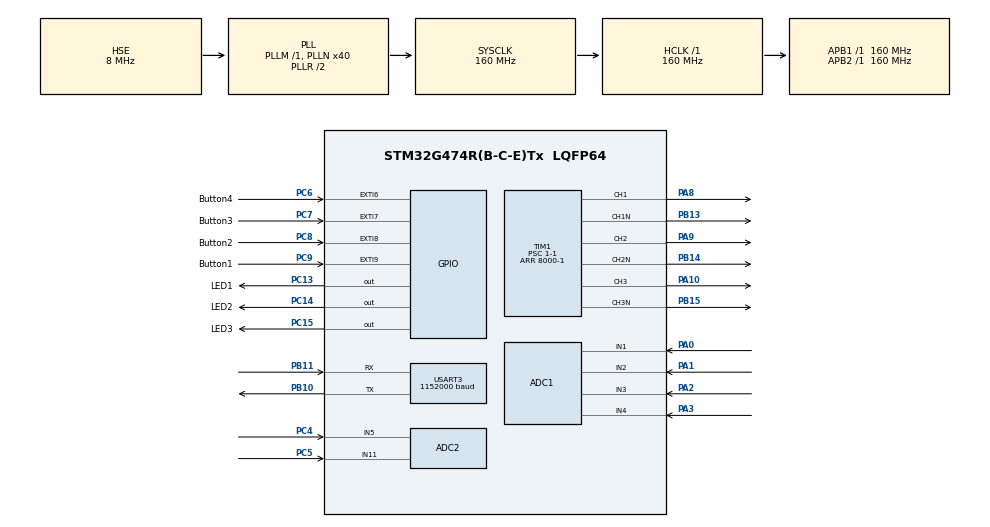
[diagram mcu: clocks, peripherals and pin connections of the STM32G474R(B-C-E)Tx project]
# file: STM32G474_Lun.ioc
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ADC1.Channel-5\#ChannelRegularConversion=ADC_CHANNEL_4
ADC1.EnableInjectedConversion=ENABLE
ADC1.ExternalTrigInjecConv=ADC_EXTERNALTRIGINJEC_T1_CC4
ADC1.InjNumberOfConversion=3
ADC1.InjectedChannel-13\#ChannelInjectedConversion=ADC_CHANNEL_1
ADC1.InjectedChannel-15\#ChannelInjectedConversion=ADC_CHANNEL_2
ADC1.InjectedChannel-16\#ChannelInjectedConversion=ADC_CHANNEL_3
ADC1.InjectedOffsetNumber-13\#ChannelInjectedConversion=ADC_OFFSET_NONE
ADC1.InjectedOffsetNumber-15\#ChannelInjectedConversion=ADC_OFFSET_NONE
ADC1.InjectedOffsetNumber-16\#ChannelInjectedConversion=ADC_OFFSET_NONE
ADC1.InjectedRank-13\#ChannelInjectedConversion=1
ADC1.InjectedRank-15\#ChannelInjectedConversion=2
ADC1.InjectedRank-16\#ChannelInjectedConversion=3
ADC1.InjectedSamplingTime-13\#ChannelInjectedConversion=ADC_SAMPLETIME_2CYCLES_5
ADC1.InjectedSamplingTime-15\#ChannelInjectedConversion=ADC_SAMPLETIME_2CYCLES_5
ADC1.InjectedSamplingTime-16\#ChannelInjectedConversion=ADC_SAMPLETIME_2CYCLES_5
ADC1.NbrOfConversionFlag=1
ADC1.OffsetNumber-5\#ChannelRegularConversion=ADC_OFFSET_NONE
ADC1.Rank-5\#ChannelRegularConversion=1
ADC1.Rank3_Channel=ADC_CHANNEL_3
ADC1.SamplingTime-5\#ChannelRegularConversion=ADC_SAMPLETIME_6CYCLES_5
ADC1.master=1
ADC2.Channel-0\#ChannelRegularConversion=ADC_CHANNEL_5
ADC2.EnableInjectedConversion=ENABLE
ADC2.InjNumberOfConversion=2
ADC2.InjectedChannel-1\#ChannelInjectedConversion=ADC_CHANNEL_5
ADC2.InjectedChannel-2\#ChannelInjectedConversion=ADC_CHANNEL_11
ADC2.InjectedOffsetNumber-1\#ChannelInjectedConversion=ADC_OFFSET_NONE
ADC2.InjectedOffsetNumber-2\#ChannelInjectedConversion=ADC_OFFSET_NONE
ADC2.InjectedRank-1\#ChannelInjectedConversion=1
ADC2.InjectedRank-2\#ChannelInjectedConversion=2
ADC2.InjectedSamplingTime-1\#ChannelInjectedConversion=ADC_SAMPLETIME_2CYCLES_5
ADC2.InjectedSamplingTime-2\#ChannelInjectedConversion=ADC_SAMPLETIME_2CYCLES_5
ADC2.NbrOfConversion=1
ADC2.NbrOfConversionFlag=1
ADC2.OffsetNumber-0\#ChannelRegularConversion=ADC_OFFSET_NONE
ADC2.Rank-0\#ChannelRegularConversion=1
ADC2.Rank1_Channel=ADC_CHANNEL_5
ADC2.Rank2_Channel=ADC_CHANNEL_11
ADC2.SamplingTime-0\#ChannelRegularConversion=ADC_SAMPLETIME_6CYCLES_5
Dma.Request0=USART3_TX
Dma.USART3_TX.0.Direction=DMA_MEMORY_TO_PERIPH
Dma.USART3_TX.0.EventEnable=DISABLE
Dma.USART3_TX.0.Instance=DMA1_Channel1
Dma.USART3_TX.0.MemDataAlignment=DMA_MDATAALIGN_BYTE
Dma.USART3_TX.0.MemInc=DMA_MINC_ENABLE
Dma.USART3_TX.0.Mode=DMA_NORMAL
Dma.USART3_TX.0.PeriphDataAlignment=DMA_PDATAALIGN_BYTE
Dma.USART3_TX.0.PeriphInc=DMA_PINC_DISABLE
Dma.USART3_TX.0.Polarity=HAL_DMAMUX_REQ_GEN_RISING
Dma.USART3_TX.0.Priority=DMA_PRIORITY_LOW
Dma.USART3_TX.0.RequestNumber=1
Dma.USART3_TX.0.SignalID=NONE
Dma.USART3_TX.0.SyncEnable=DISABLE
Dma.USART3_TX.0.SyncPolarity=HAL_DMAMUX_SYNC_NO_EVENT
Dma.USART3_TX.0.SyncRequestNumber=1
Dma.USART3_TX.0.SyncSignalID=NONE
Mcu.Family=STM32G4
Mcu.Name=STM32G474R(B-C-E)Tx
Mcu.Package=LQFP64
NVIC.ADC1_2_IRQn=true\:0\:0\:false\:false\:true\:true\:true
NVIC.DMA1_Channel1_IRQn=true\:0\:0\:false\:false\:true\:false\:true
NVIC.EXTI9_5_IRQn=true\:0\:0\:false\:false\:true\:true\:true
NVIC.PriorityGroup=NVIC_PRIORITYGROUP_4
NVIC.TIM1_BRK_TIM15_IRQn=true\:0\:0\:false\:false\:true\:true\:true
NVIC.TIM1_CC_IRQn=true\:0\:0\:false\:false\:true\:true\:true
NVIC.TIM1_UP_TIM16_IRQn=true\:0\:0\:false\:false\:true\:true\:true
NVIC.USART3_IRQn=true\:0\:0\:false\:false\:true\:true\:true
PA0.Mode=IN1-Single-Ended
PA0.Signal=ADC1_IN1
PA1.Mode=IN2-Single-Ended
PA1.Signal=ADC1_IN2
PA10.Signal=S_TIM1_CH3
PA13.Mode=Serial_Wire
PA13.Signal=SYS_JTMS-SWDIO
PA14.Mode=Serial_Wire
PA14.Signal=SYS_JTCK-SWCLK
PA2.Mode=IN3-Single-Ended
PA2.Signal=ADC1_IN3
PA3.Mode=IN4-Single-Ended
PA3.Signal=ADC1_IN4
PA8.Signal=S_TIM1_CH1
PA9.Signal=S_TIM1_CH2
PB10.Mode=Asynchronous
PB10.Signal=USART3_TX
PB11.Mode=Asynchronous
PB11.Signal=USART3_RX
PB13.Mode=PWM Generation1 CH1 CH1N
PB13.Signal=TIM1_CH1N
PB14.Mode=PWM Generation2 CH2 CH2N
PB14.Signal=TIM1_CH2N
PB15.Mode=PWM Generation3 CH3 CH3N
PB15.Signal=TIM1_CH3N
PC13.GPIO_Label=LED1
PC13.GPIO_PuPd=GPIO_PULLUP
PC13.Signal=GPIO_Output
PC14-OSC32_IN.GPIO_Label=LED2
PC14-OSC32_IN.GPIO_PuPd=GPIO_PULLUP
PC14-OSC32_IN.Signal=GPIO_Output
PC15-OSC32_OUT.GPIO_Label=LED3
PC15-OSC32_OUT.GPIO_PuPd=GPIO_PULLUP
PC15-OSC32_OUT.Signal=GPIO_Output
PC4.Mode=IN5-Single-Ended
PC4.Signal=ADC2_IN5
PC5.Mode=IN11-Single-Ended
PC5.Signal=ADC2_IN11
PC6.GPIO_Label=Button4
PC6.GPIO_PuPd=GPIO_NOPULL
PC6.Signal=GPXTI6
PC7.GPIO_Label=Button3
PC7.GPIO_PuPd=GPIO_NOPULL
PC7.Signal=GPXTI7
PC8.GPIO_Label=Button2
PC8.GPIO_PuPd=GPIO_NOPULL
PC8.Signal=GPXTI8
PC9.GPIO_Label=Button1
PC9.GPIO_PuPd=GPIO_NOPULL
PC9.Signal=GPXTI9
PF0-OSC_IN.Mode=HSE-External-Oscillator
PF0-OSC_IN.Signal=RCC_OSC_IN
PF1-OSC_OUT.Mode=HSE-External-Oscillator
PF1-OSC_OUT.Signal=RCC_OSC_OUT
ProjectManager.HeapSize=0x200
ProjectManager.StackSize=0x400
ProjectManager.TargetToolchain=MDK-ARM V5.32
RCC.ADC12Freq_Value=160000000
RCC.ADC345Freq_Value=160000000
RCC.AHBFreq_Value=160000000
RCC.APB1Freq_Value=160000000
RCC.APB1TimFreq_Value=160000000
RCC.APB2Freq_Value=160000000
RCC.APB2TimFreq_Value=160000000
RCC.CortexFreq_Value=160000000
RCC.EXTERNAL_CLOCK_VALUE=12288000
RCC.HCLKFreq_Value=160000000
RCC.HSE_VALUE=8000000
RCC.HSI48_VALUE=48000000
RCC.HSI_VALUE=16000000
RCC.LSE_VALUE=32768
RCC.PLLN=40
RCC.PLLSourceVirtual=RCC_PLLSOURCE_HSE
RCC.SYSCLKFreq_VALUE=160000000
RCC.SYSCLKSource=RCC_SYSCLKSOURCE_PLLCLK
RCC.USBFreq_Value=160000000
RCC.VCOOutputFreq_Value=320000000
SH.S_TIM1_CH1.0=TIM1_CH1,PWM Generation1 CH1 CH1N
SH.S_TIM1_CH2.0=TIM1_CH2,PWM Generation2 CH2 CH2N
SH.S_TIM1_CH3.0=TIM1_CH3,PWM Generation3 CH3 CH3N
TIM1.Channel-PWM\ Generation1\ CH1\ CH1N=TIM_CHANNEL_1
TIM1.Channel-PWM\ Generation2\ CH2\ CH2N=TIM_CHANNEL_2
TIM1.Channel-PWM\ Generation3\ CH3\ CH3N=TIM_CHANNEL_3
TIM1.Channel-PWM\ Generation4\ No\ Output=TIM_CHANNEL_4
TIM1.ClockDivision=TIM_CLOCKDIVISION_DIV2
TIM1.CounterMode=TIM_COUNTERMODE_CENTERALIGNED1
TIM1.DeadTime=120
TIM1.OCMode_PWM-PWM\ Generation4\ No\ Output=TIM_OCMODE_PWM2
TIM1.PeriodNoDither=8000-1
TIM1.Prescaler=1-1
TIM1.PulseNoDither_4=8000-2
TIM1.RepetitionCounter=1
TIM1.TIM_MasterOutputTrigger=TIM_TRGO_OC4REF
USART3.BaudRate=1152000
USART3.VirtualMode-Asynchronous=VM_ASYNC
VP_SYS_VS_DBSignals.Mode=DisableDeadBatterySignals
VP_TIM1_VS_ClockSourceINT.Mode=Internal
VP_TIM1_VS_no_output4.Mode=PWM Generation4 No Output
board=custom

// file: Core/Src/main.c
/* USER CODE BEGIN Header */
/**
  ******************************************************************************
  * @file           : main.c
  * @brief          : Main program body
  ******************************************************************************
  * @attention
  *
  * <h2><center>&copy; Copyright (c) 2024 STMicroelectronics.
  * All rights reserved.</center></h2>
  *
  * This software component is licensed by ST under BSD 3-Clause license,
  * the "License"; You may not use this file except in compliance with the
  * License. You may obtain a copy of the License at:
  *                        opensource.org/licenses/BSD-3-Clause
  *
  ******************************************************************************
  */
/* USER CODE END Header */
#include "main.h"
#include "adc.h"
#include "dma.h"
#include "tim.h"
#include "usart.h"
#include "gpio.h"

/* USER CODE BEGIN Includes */

#include <stdio.h>
#include <string.h>
#include "FOC_Model.h"
#include "user_uploader.h"
/* USER CODE END Includes */

/* USER CODE BEGIN PV */

#define RXBUFFERSIZE  256
char RxBuffer[RXBUFFERSIZE];
uint8_t aRxBuffer;
uint8_t Uart1_Rx_Cnt = 0;

uint16_t adc1_in1, adc1_in2, adc1_in3, adc1_in4, adc_vbus;
uint16_t IA_Offset,IB_Offset,IC_Offset;
uint8_t ADC_offset = 0;
uint16_t finalspeed = 0;
uint8_t Motor_state = 0;
/* External inputs (root inport signals with default storage) */
extern ExtU rtU;

/* External outputs (root outports fed by signals with default storage) */
extern ExtY rtY;
/* USER CODE END PV */

void SystemClock_Config(void);

int main(void)
{

  /* MCU Configuration--------------------------------------------------------*/

  /* Reset of all peripherals, Initializes the Flash interface and the Systick. */
  HAL_Init();

  /* Configure the system clock */
  SystemClock_Config();

  /* Initialize all configured peripherals */
  MX_GPIO_Init();
  MX_ADC1_Init();
  MX_DMA_Init();
  MX_USART3_UART_Init();
  MX_TIM1_Init();
  MX_ADC2_Init();
  /* USER CODE BEGIN 2 */

	HAL_ADCEx_Calibration_Start( &hadc1, ADC_SINGLE_ENDED);
	__HAL_ADC_CLEAR_FLAG( &hadc1, ADC_FLAG_JEOC);
	__HAL_ADC_CLEAR_FLAG( &hadc1, ADC_FLAG_EOC);
	HAL_ADCEx_InjectedStart_IT(&hadc1);
	HAL_TIM_Base_Start( &htim1);
	HAL_TIM_PWM_Start( &htim1, TIM_CHANNEL_4);
	rtU.Speed_ref = 1200;
	rtU.VDC = 24;
//	motor_svpwm
  /* USER CODE END 2 */

  /* Infinite loop */
  while (1)
  {

    /* USER CODE BEGIN 3 */
// ����ע��ת��
		HAL_ADCEx_InjectedStart(&hadc2);
		adc_vbus = hadc2.Instance->JDR2;
		rtU.VDC=adc_vbus*0.01359f;

		adc1_in4 = hadc2.Instance->JDR1;
		finalspeed = (adc1_in4>>4) * 15;
		if(finalspeed >=0 && finalspeed <400)
		{
			finalspeed = 400;
		}
		if(finalspeed > 1200)
		{
			finalspeed = 1200;
		}
		rtU.Speed_ref = finalspeed;
		HAL_Delay(10);

  }
  /* USER CODE END 3 */
}

void SystemClock_Config(void)
{
  RCC_OscInitTypeDef RCC_OscInitStruct = {0};
  RCC_ClkInitTypeDef RCC_ClkInitStruct = {0};
  RCC_PeriphCLKInitTypeDef PeriphClkInit = {0};

  /** Configure the main internal regulator output voltage
  */
  HAL_PWREx_ControlVoltageScaling(PWR_REGULATOR_VOLTAGE_SCALE1_BOOST);
  /** Initializes the RCC Oscillators according to the specified parameters
  * in the RCC_OscInitTypeDef structure.
  */
  RCC_OscInitStruct.OscillatorType = RCC_OSCILLATORTYPE_HSE;
  RCC_OscInitStruct.HSEState = RCC_HSE_ON;
  RCC_OscInitStruct.PLL.PLLState = RCC_PLL_ON;
  RCC_OscInitStruct.PLL.PLLSource = RCC_PLLSOURCE_HSE;
  RCC_OscInitStruct.PLL.PLLM = RCC_PLLM_DIV1;
  RCC_OscInitStruct.PLL.PLLN = 40;
  RCC_OscInitStruct.PLL.PLLP = RCC_PLLP_DIV2;
  RCC_OscInitStruct.PLL.PLLQ = RCC_PLLQ_DIV2;
  RCC_OscInitStruct.PLL.PLLR = RCC_PLLR_DIV2;
  if (HAL_RCC_OscConfig(&RCC_OscInitStruct) != HAL_OK)
  {
    Error_Handler();
  }
  /** Initializes the CPU, AHB and APB buses clocks
  */
  RCC_ClkInitStruct.ClockType = RCC_CLOCKTYPE_HCLK|RCC_CLOCKTYPE_SYSCLK
                              |RCC_CLOCKTYPE_PCLK1|RCC_CLOCKTYPE_PCLK2;
  RCC_ClkInitStruct.SYSCLKSource = RCC_SYSCLKSOURCE_PLLCLK;
  RCC_ClkInitStruct.AHBCLKDivider = RCC_SYSCLK_DIV1;
  RCC_ClkInitStruct.APB1CLKDivider = RCC_HCLK_DIV1;
  RCC_ClkInitStruct.APB2CLKDivider = RCC_HCLK_DIV1;

  if (HAL_RCC_ClockConfig(&RCC_ClkInitStruct, FLASH_LATENCY_4) != HAL_OK)
  {
    Error_Handler();
  }
  /** Initializes the peripherals clocks
  */
  PeriphClkInit.PeriphClockSelection = RCC_PERIPHCLK_USART3|RCC_PERIPHCLK_ADC12;
  PeriphClkInit.Usart3ClockSelection = RCC_USART3CLKSOURCE_PCLK1;
  PeriphClkInit.Adc12ClockSelection = RCC_ADC12CLKSOURCE_SYSCLK;
  if (HAL_RCCEx_PeriphCLKConfig(&PeriphClkInit) != HAL_OK)
  {
    Error_Handler();
  }
}

/* USER CODE BEGIN 4 */

////void HAL_GPIO_EXTI_Callback(uint16_t GPIO_Pin)
////{
////  /* Prevent unused argument(s) compilation warning */
////  UNUSED(GPIO_Pin);
////	if(Button3_Pin == GPIO_Pin)
////	{
////		printf("78910\r\n");
////	}
////  /* NOTE: This function should not be modified, when the callback is needed,
////           the HAL_GPIO_EXTI_Callback could be implemented in the user file
////   */
////}
void HAL_GPIO_EXTI_Callback(uint16_t GPIO_Pin)
{
  /* Prevent unused argument(s) compilation warning */
  UNUSED(GPIO_Pin);
	unsigned int i=0;
	while(i++<=0x0FFF);
//	HAL_Delay(10);//����
	if(Button1_Pin == GPIO_Pin)
	{
		HAL_GPIO_TogglePin(LED1_GPIO_Port,LED1_Pin);
	}
	if(Button3_Pin == GPIO_Pin)
	{
		Motor_state = ~Motor_state;
		HAL_GPIO_TogglePin(LED2_GPIO_Port,LED2_Pin);
		if(0 == Motor_state)
		{
			rtU.MotorOnOff = 0;
			HAL_TIM_PWM_Stop( &htim1, TIM_CHANNEL_1);
			HAL_TIM_PWM_Stop( &htim1, TIM_CHANNEL_2);
			HAL_TIM_PWM_Stop( &htim1, TIM_CHANNEL_3);
			HAL_TIMEx_PWMN_Stop( &htim1, TIM_CHANNEL_1);
			HAL_TIMEx_PWMN_Stop( &htim1, TIM_CHANNEL_2);
			HAL_TIMEx_PWMN_Stop( &htim1, TIM_CHANNEL_3);
		}
		else
		{
			rtU.MotorOnOff = 1;
			HAL_TIM_PWM_Start( &htim1, TIM_CHANNEL_1);
			HAL_TIM_PWM_Start( &htim1, TIM_CHANNEL_2);
			HAL_TIM_PWM_Start( &htim1, TIM_CHANNEL_3);
			HAL_TIMEx_PWMN_Start( &htim1, TIM_CHANNEL_1);
			HAL_TIMEx_PWMN_Start( &htim1, TIM_CHANNEL_2);
			HAL_TIMEx_PWMN_Start( &htim1, TIM_CHANNEL_3);
		}
	}
  /* NOTE: This function should not be modified, when the callback is needed,
           the HAL_GPIO_EXTI_Callback could be implemented in the user file
   */
}

void HAL_ADCEx_InjectedConvCpltCallback(ADC_HandleTypeDef *hadc)
{
	static uint8_t cnt;
	static uint16_t obsever_cnt;
  /* Prevent unused argument(s) compilation warning */
  UNUSED(hadc);
	if(hadc == &hadc1)
	{
		if(ADC_offset == 0)
		{
			cnt++;
			adc1_in1 = hadc1.Instance->JDR1;
			adc1_in2 = hadc1.Instance->JDR2;
			adc1_in3 = hadc1.Instance->JDR3;

			IA_Offset += adc1_in1;
			IB_Offset += adc1_in2;
			IC_Offset += adc1_in3;
			if(cnt >= 10)
			{
				ADC_offset = 1;
				IA_Offset = IA_Offset/10;
				IB_Offset = IB_Offset/10;
				IC_Offset = IC_Offset/10;
			}
		}
		else
		{
			adc1_in1 = hadc1.Instance->JDR1;
			adc1_in2 = hadc1.Instance->JDR2;
			adc1_in3 = hadc1.Instance->JDR3;
//			rtU.ic = (adc1_in1 - IA_Offset)*0.008f;
			rtU.ib = (adc1_in2 - IB_Offset)*0.008f;
			rtU.ia = (adc1_in3 - IC_Offset)*0.008f;
			rtU.ic = -rtU.ia -rtU.ib;
			FOC_Model_step();
			TIM1->CCR1 = rtY.Tcmp1;
			TIM1->CCR2 = rtY.Tcmp2;
			TIM1->CCR3 = rtY.Tcmp3;
			Frame_Data_type.fdata[0]=rtU.VDC;
			Frame_Data_type.fdata[1]=rtY.LunTheta;
			Frame_Data_type.fdata[2]=rtY.LunWm;
			Frame_Data_type.fdata[3]=rtU.Speed_ref;
			Frame_Data_type.fdata[4]=rtU.ia;
			Frame_Data_type.fdata[5]=rtU.ib;
			Frame_Data_type.fdata[6]=rtU.ic;
			Plot_Data_UpLoad();
		}
	}

  /* NOTE : This function should not be modified. When the callback is needed,
            function HAL_ADCEx_InjectedConvCpltCallback must be implemented in the user file.
  */
}

/* USER CODE END 4 */

void Error_Handler(void)
{
  __disable_irq();
  while (1)
  {
  }
}

/************************ (C) COPYRIGHT STMicroelectronics *****END OF FILE****/
